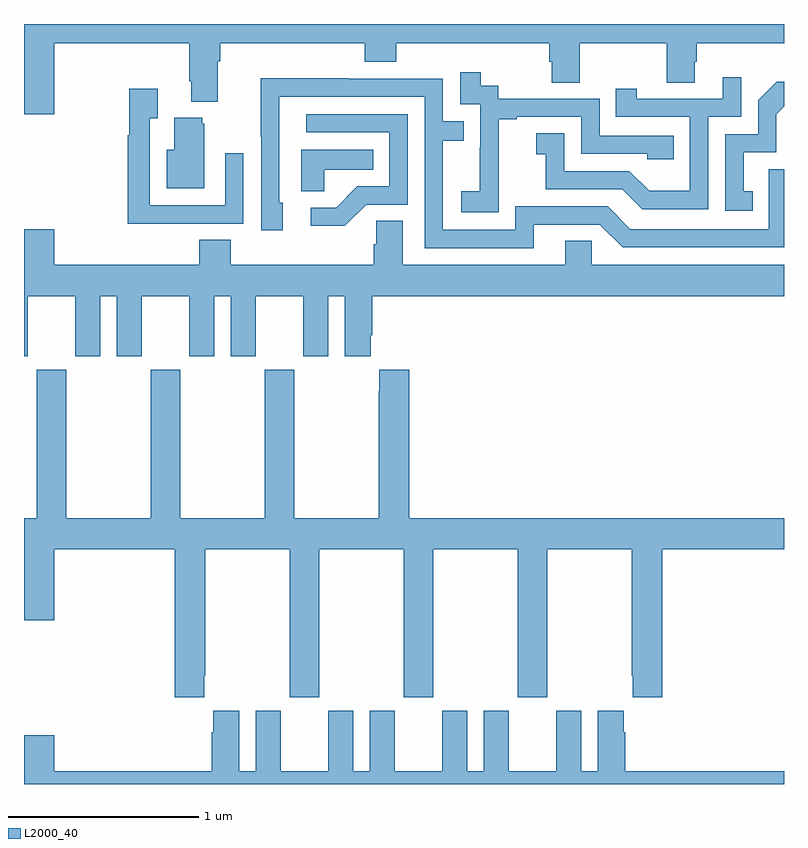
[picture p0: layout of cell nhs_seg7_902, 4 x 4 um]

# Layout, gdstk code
import gdstk
lib = gdstk.Library(unit=1e-6, precision=1e-09)
def P(c, l, *ps):  # polygons
    for p in ps: c.add(gdstk.Polygon(p, *l))
L2000_40 = (2000, 40)

nhs_seg7_902 = lib.new_cell('nhs_seg7_902')
P(nhs_seg7_902, L2000_40, [(177.16,1049.9),(177.869,1049.9),(177.869,1049.698),(177.881,1049.698),(177.881,1049.591),(178.021,1049.591),(178.021,1049.804),(178.034,1049.804),(178.034,1049.9),(178.793,1049.9),(178.793,1049.801),(178.958,1049.801),(178.958,1049.9),(179.765,1049.9),(179.765,1049.802),(179.777,1049.802),(179.777,1049.692),(179.925,1049.692),(179.925,1049.9),(180.382,1049.9),(180.382,1049.692),(180.529,1049.692),(180.529,1049.802),(180.542,1049.802),(180.542,1049.9),(181,1049.9),(181,1050),(177,1050),(177,1049.526),(177.16,1049.526)],
  [(179.499,1049.215),(179.498,1049.215),(179.498,1049.499),(179.593,1049.499),(179.593,1049.511),(179.934,1049.511),(179.934,1049.316),(180.279,1049.316),(180.279,1049.289),(180.419,1049.289),(180.419,1049.412),(180.03,1049.412),(180.03,1049.607),(179.496,1049.607),(179.496,1049.676),(179.404,1049.676),(179.404,1049.746),(179.295,1049.746),(179.295,1049.577),(179.4,1049.577),(179.4,1049.348),(179.399,1049.348),(179.399,1049.119),(179.301,1049.119),(179.301,1049.009),(179.499,1049.009)],
  [(180.6,1049.511),(180.774,1049.511),(180.774,1049.719),(180.677,1049.719),(180.677,1049.607),(180.226,1049.607),(180.226,1049.659),(180.115,1049.659),(180.115,1049.511),(180.504,1049.511),(180.504,1049.122),(180.29,1049.122),(180.186,1049.226),(179.844,1049.226),(179.844,1049.425),(179.697,1049.425),(179.697,1049.315),(179.746,1049.315),(179.746,1049.13),(180.149,1049.13),(180.254,1049.025),(180.6,1049.025)],
  [(179.683,1048.944),(180.03,1048.944),(180.15,1048.824),(181,1048.824),(181,1049.235),(180.921,1049.235),(180.921,1048.92),(180.192,1048.92),(180.072,1049.04),(179.586,1049.04),(179.586,1048.917),(179.205,1048.917),(179.205,1049.386),(179.315,1049.386),(179.315,1049.487),(179.205,1049.487),(179.205,1049.712),(178.709,1049.712),(178.709,1049.714),(178.246,1049.714),(178.246,1049.407),(178.248,1049.407),(178.248,1048.914),(178.363,1048.914),(178.363,1049.058),(178.344,1049.058),(178.344,1049.616),(179.109,1049.616),(179.109,1048.821),(179.683,1048.821)],
  [(180.836,1049.121),(180.787,1049.121),(180.787,1049.325),(180.96,1049.325),(180.96,1049.526),(181,1049.566),(181,1049.696),(180.962,1049.696),(180.864,1049.598),(180.864,1049.421),(180.69,1049.421),(180.69,1049.016),(180.836,1049.016)],
  [(177.839,1048.95),(178.155,1048.95),(178.155,1049.32),(178.059,1049.32),(178.059,1049.046),(177.663,1049.046),(177.663,1049.503),(177.703,1049.503),(177.703,1049.659),(177.555,1049.659),(177.555,1049.414),(177.547,1049.414),(177.547,1048.949),(177.839,1048.949)],
  [(178.8,1049.049),(179.019,1049.049),(179.019,1049.526),(178.485,1049.526),(178.485,1049.43),(178.923,1049.43),(178.923,1049.145),(178.754,1049.145),(178.643,1049.034),(178.509,1049.034),(178.509,1048.937),(178.687,1048.937)],
  [(177.949,1049.475),(177.938,1049.475),(177.938,1049.506),(177.791,1049.506),(177.791,1049.338),(177.752,1049.338),(177.752,1049.135),(177.949,1049.135)],
  [(178.581,1049.234),(178.838,1049.234),(178.838,1049.338),(178.46,1049.338),(178.46,1049.119),(178.581,1049.119)],
  [(177.019,1048.568),(177.269,1048.568),(177.269,1048.251),(177.4,1048.251),(177.4,1048.568),(177.488,1048.568),(177.488,1048.251),(177.619,1048.251),(177.619,1048.568),(177.869,1048.568),(177.869,1048.251),(178,1048.251),(178,1048.568),(178.088,1048.568),(178.088,1048.251),(178.219,1048.251),(178.219,1048.568),(178.469,1048.568),(178.469,1048.251),(178.6,1048.251),(178.6,1048.568),(178.688,1048.568),(178.688,1048.251),(178.825,1048.251),(178.825,1048.363),(178.832,1048.363),(178.832,1048.568),(181,1048.568),(181,1048.732),(179.988,1048.732),(179.988,1048.859),(179.849,1048.859),(179.849,1048.732),(178.993,1048.732),(178.993,1048.964),(178.854,1048.964),(178.854,1048.841),(178.841,1048.841),(178.841,1048.732),(178.088,1048.732),(178.088,1048.865),(177.923,1048.865),(177.923,1048.732),(177.16,1048.732),(177.16,1048.921),(177,1048.921),(177,1048.251),(177.019,1048.251)],
  [(177.949,1046.569),(177.954,1046.569),(177.954,1047.236),(178.399,1047.236),(178.399,1046.457),(178.554,1046.457),(178.554,1047.236),(178.999,1047.236),(178.999,1046.457),(179.154,1046.457),(179.154,1047.236),(179.599,1047.236),(179.599,1046.457),(179.754,1046.457),(179.754,1047.236),(180.199,1047.236),(180.199,1046.569),(180.203,1046.569),(180.203,1046.457),(180.359,1046.457),(180.359,1047.236),(181,1047.236),(181,1047.4),(179.027,1047.4),(179.027,1048.18),(178.871,1048.18),(178.871,1048.067),(178.867,1048.067),(178.867,1047.4),(178.422,1047.4),(178.422,1048.18),(178.267,1048.18),(178.267,1047.4),(177.822,1047.4),(177.822,1048.18),(177.667,1048.18),(177.667,1047.4),(177.222,1047.4),(177.222,1048.18),(177.067,1048.18),(177.067,1047.4),(177,1047.4),(177,1046.862),(177.16,1046.862),(177.16,1047.236),(177.794,1047.236),(177.794,1046.457),(177.949,1046.457)],
  [(180.157,1046.273),(180.157,1046.386),(180.02,1046.386),(180.02,1046.068),(179.932,1046.068),(179.932,1046.386),(179.801,1046.386),(179.801,1046.068),(179.551,1046.068),(179.551,1046.386),(179.42,1046.386),(179.42,1046.068),(179.332,1046.068),(179.332,1046.386),(179.201,1046.386),(179.201,1046.068),(178.951,1046.068),(178.951,1046.386),(178.82,1046.386),(178.82,1046.068),(178.732,1046.068),(178.732,1046.386),(178.601,1046.386),(178.601,1046.068),(178.351,1046.068),(178.351,1046.386),(178.22,1046.386),(178.22,1046.068),(178.132,1046.068),(178.132,1046.386),(177.995,1046.386),(177.995,1046.273),(177.989,1046.273),(177.989,1046.068),(177.16,1046.068),(177.16,1046.257),(177,1046.257),(177,1046),(181,1046),(181,1046.068),(180.164,1046.068),(180.164,1046.273)])

lib.write_gds('nhs_seg7_902.gds')
